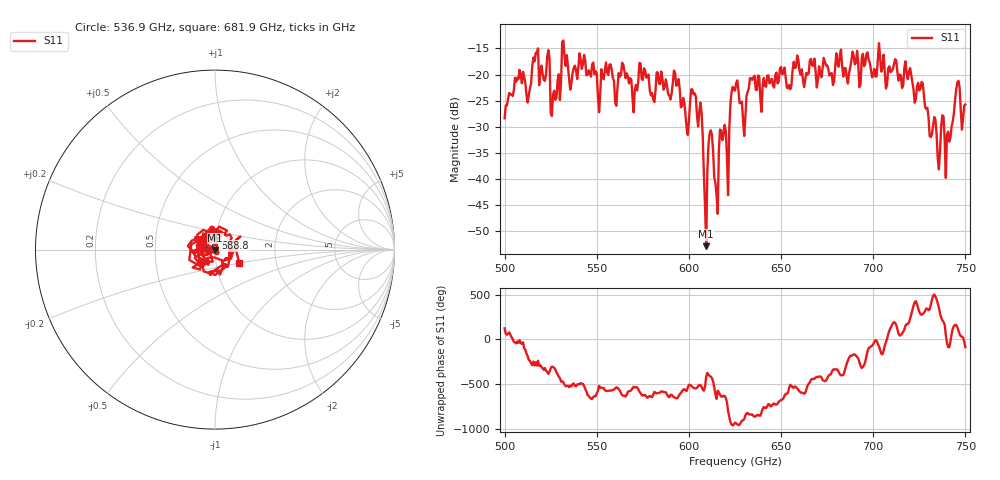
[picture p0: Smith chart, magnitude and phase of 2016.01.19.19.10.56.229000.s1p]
!Created with skrf (http://scikit-rf.org).
# GHz S RI R 50.0
!freq ReS11 ImS11
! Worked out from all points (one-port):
!   401 points, 500 GHz to 750 GHz, reference 50 ohm
!   lowest |S11| = -52.9 dB at 609.4 GHz (marker M1), VSWR 1.00, Z = 50.1 - j0.187 ohm
!   |S11| at or under -10 dB: start of sweep to end of sweep
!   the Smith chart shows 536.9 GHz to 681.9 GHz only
!   S11 on the Smith chart (normalised r, x): 536.9 GHz: 0.85, -0.12; 588.8 GHz: 1.00, +0.13; 681.9 GHz: 1.29, -0.19
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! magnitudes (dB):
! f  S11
! 500 GHz  -28.4
! 506.9 GHz  -20.6
! 513.1 GHz  -23.9
! 516.9 GHz  -15.8
! 523.1 GHz  -16.5
! 526.2 GHz  -23.9
! 531.2 GHz  -13.8
! 536.9 GHz  -19.8
! 562.5 GHz  -20.4
! 588.8 GHz  -23.8
! 593.8 GHz  -22.0
! 598.8 GHz  -30.2
! 602.5 GHz  -23.8
! 606.2 GHz  -25.4
! 609.4 GHz  -52.9
! 611.2 GHz  -31.2
! 615 GHz  -43.2
! 625 GHz  -23.1
! 629.4 GHz  -28.8
! 634.4 GHz  -21.0
! 656.2 GHz  -19.2
! 681.9 GHz  -16.3
! 687.5 GHz  -18.7
! 718.8 GHz  -20.9
! 735.6 GHz  -38.2
! 740.6 GHz  -31.0
! 745.6 GHz  -21.5
! 750 GHz  -25.8
